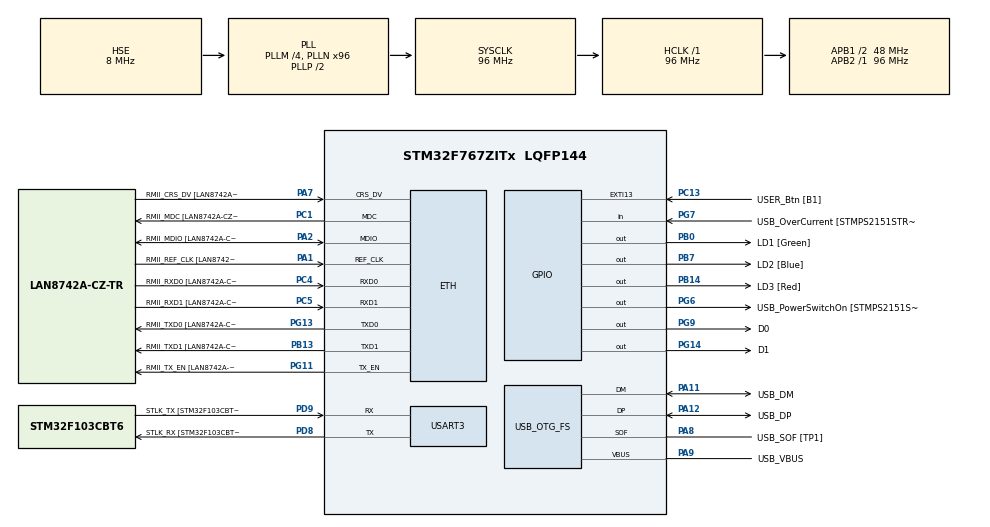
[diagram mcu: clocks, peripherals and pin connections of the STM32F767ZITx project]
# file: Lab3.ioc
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ETH.MediaInterface=HAL_ETH_RMII_MODE
ETH.PHY_Name=LAN8742A_PHY_ADDRESS
ETH.PHY_Value=0
ETH.PhyAddress=0
Mcu.Family=STM32F7
Mcu.Name=STM32F767ZITx
Mcu.Package=LQFP144
NVIC.PriorityGroup=NVIC_PRIORITYGROUP_4
PA1.GPIO_Label=RMII_REF_CLK [LAN8742A-CZ-TR_REFCLK0]
PA1.Mode=RMII
PA1.Signal=ETH_REF_CLK
PA10.GPIO_Label=USB_ID
PA10.Signal=USB_OTG_FS_ID
PA11.GPIO_Label=USB_DM
PA11.Mode=Device_Only
PA11.Signal=USB_OTG_FS_DM
PA12.GPIO_Label=USB_DP
PA12.Mode=Device_Only
PA12.Signal=USB_OTG_FS_DP
PA13.GPIO_Label=TMS
PA13.Mode=Serial_Wire
PA13.Signal=SYS_JTMS-SWDIO
PA14.GPIO_Label=TCK
PA14.Mode=Serial_Wire
PA14.Signal=SYS_JTCK-SWCLK
PA2.GPIO_Label=RMII_MDIO [LAN8742A-CZ-TR_MDIO]
PA2.Mode=RMII
PA2.Signal=ETH_MDIO
PA7.GPIO_Label=RMII_CRS_DV [LAN8742A-CZ-TR_CRS_DV]
PA7.Mode=RMII
PA7.Signal=ETH_CRS_DV
PA8.GPIO_Label=USB_SOF [TP1]
PA8.Mode=Activate_SOF_FS
PA8.Signal=USB_OTG_FS_SOF
PA9.GPIO_Label=USB_VBUS
PA9.Mode=Activate_VBUS
PA9.Signal=USB_OTG_FS_VBUS
PB0.GPIO_Label=LD1 [Green]
PB0.Signal=GPIO_Output
PB13.GPIO_Label=RMII_TXD1 [LAN8742A-CZ-TR_TXD1]
PB13.Mode=RMII
PB13.Signal=ETH_TXD1
PB14.GPIO_Label=LD3 [Red]
PB14.Signal=GPIO_Output
PB3.GPIO_Label=SWO
PB3.Signal=SYS_JTDO-SWO
PB7.GPIO_Label=LD2 [Blue]
PB7.Signal=GPIO_Output
PC1.GPIO_Label=RMII_MDC [LAN8742A-CZ-TR_MDC]
PC1.Mode=RMII
PC1.Signal=ETH_MDC
PC13.GPIO_Label=USER_Btn [B1]
PC13.Signal=GPXTI13
PC14/OSC32_IN.Mode=LSE-External-Oscillator
PC14/OSC32_IN.Signal=RCC_OSC32_IN
PC15/OSC32_OUT.Mode=LSE-External-Oscillator
PC15/OSC32_OUT.Signal=RCC_OSC32_OUT
PC4.GPIO_Label=RMII_RXD0 [LAN8742A-CZ-TR_RXD0]
PC4.Mode=RMII
PC4.Signal=ETH_RXD0
PC5.GPIO_Label=RMII_RXD1 [LAN8742A-CZ-TR_RXD1]
PC5.Mode=RMII
PC5.Signal=ETH_RXD1
PD8.GPIO_Label=STLK_RX [STM32F103CBT6_PA3]
PD8.Mode=Asynchronous
PD8.Signal=USART3_TX
PD9.GPIO_Label=STLK_TX [STM32F103CBT6_PA2]
PD9.Mode=Asynchronous
PD9.Signal=USART3_RX
PG11.GPIO_Label=RMII_TX_EN [LAN8742A-CZ-TR_TXEN]
PG11.Mode=RMII
PG11.Signal=ETH_TX_EN
PG13.GPIO_Label=RMII_TXD0 [LAN8742A-CZ-TR_TXD0]
PG13.Mode=RMII
PG13.Signal=ETH_TXD0
PG14.GPIO_Label=D1
PG14.Signal=GPIO_Output
PG6.GPIO_Label=USB_PowerSwitchOn [STMPS2151STR_EN]
PG6.Signal=GPIO_Output
PG7.GPIO_Label=USB_OverCurrent [STMPS2151STR_FAULT]
PG7.Signal=GPIO_Input
PG9.GPIO_Label=D0
PG9.Signal=GPIO_Output
PH0/OSC_IN.GPIO_Label=MCO [STM32F103CBT6_PA8]
PH0/OSC_IN.Mode=HSE-External-Clock-Source
PH0/OSC_IN.Signal=RCC_OSC_IN
PH1/OSC_OUT.Mode=HSE-External-Clock-Source
PH1/OSC_OUT.Signal=RCC_OSC_OUT
ProjectManager.HeapSize=0x200
ProjectManager.StackSize=0x400
ProjectManager.TargetToolchain=CMake
RCC.48MHZClocksFreq_Value=24000000
RCC.AHBFreq_Value=96000000
RCC.APB1CLKDivider=RCC_HCLK_DIV2
RCC.APB1Freq_Value=48000000
RCC.APB1TimFreq_Value=96000000
RCC.APB2Freq_Value=96000000
RCC.APB2TimFreq_Value=96000000
RCC.CortexFreq_Value=96000000
RCC.HCLKFreq_Value=96000000
RCC.HSE_VALUE=8000000
RCC.HSI_VALUE=16000000
RCC.PLLM=4
RCC.PLLMUL=RCC_PLL_MUL9
RCC.PLLN=96
RCC.PLLQ=4
RCC.PRESCALERUSB=RCC_USBCLKSOURCE_PLL_DIV1_5
RCC.SYSCLKFreq_VALUE=96000000
RCC.SYSCLKSource=RCC_SYSCLKSOURCE_PLLCLK
RCC.SYSCLKSourceVirtual=RCC_SYSCLKSOURCE_PLLCLK
RCC.USBFreq_Value=48000000
RCC.VCOOutputFreq_Value=192000000
USART3.VirtualMode-Asynchronous=VM_ASYNC
USB_OTG_FS.VirtualMode=Device_Only
board=NUCLEO-F767ZI

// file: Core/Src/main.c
/* USER CODE BEGIN Header */
/**
  ******************************************************************************
  * @file           : main.c
  * @brief          : Main program body
  ******************************************************************************
  * @attention
  *
  * Copyright (c) 2025 STMicroelectronics.
  * All rights reserved.
  *
  * This software is licensed under terms that can be found in the LICENSE file
  * in the root directory of this software component.
  * If no LICENSE file comes with this software, it is provided AS-IS.
  *
  ******************************************************************************
  */
/* USER CODE END Header */
#include "main.h"
#include "stm32f767xx.h"
#include "stm32f7xx_hal.h"
#include "stm32f7xx_hal_gpio.h"
#include "string.h"

/* USER CODE BEGIN Includes */
#include "string.h"
#include <stdint.h>
/* USER CODE END Includes */

#if defined ( __ICCARM__ ) /*!< IAR Compiler */
#pragma location=0x2007c000
ETH_DMADescTypeDef  DMARxDscrTab[ETH_RX_DESC_CNT]; /* Ethernet Rx DMA Descriptors */
#pragma location=0x2007c0a0
ETH_DMADescTypeDef  DMATxDscrTab[ETH_TX_DESC_CNT]; /* Ethernet Tx DMA Descriptors */

#elif defined ( __CC_ARM )  /* MDK ARM Compiler */

__attribute__((at(0x2007c000))) ETH_DMADescTypeDef  DMARxDscrTab[ETH_RX_DESC_CNT]; /* Ethernet Rx DMA Descriptors */
__attribute__((at(0x2007c0a0))) ETH_DMADescTypeDef  DMATxDscrTab[ETH_TX_DESC_CNT]; /* Ethernet Tx DMA Descriptors */

#elif defined ( __GNUC__ ) /* GNU Compiler */

ETH_DMADescTypeDef DMARxDscrTab[ETH_RX_DESC_CNT] __attribute__((section(".RxDecripSection"))); /* Ethernet Rx DMA Descriptors */
ETH_DMADescTypeDef DMATxDscrTab[ETH_TX_DESC_CNT] __attribute__((section(".TxDecripSection")));   /* Ethernet Tx DMA Descriptors */
#endif

ETH_TxPacketConfig TxConfig;

ETH_HandleTypeDef heth;

UART_HandleTypeDef huart3;

PCD_HandleTypeDef hpcd_USB_OTG_FS;

void SystemClock_Config(void);
static void MX_GPIO_Init(void);
static void MX_ETH_Init(void);
static void MX_USART3_UART_Init(void);
static void MX_USB_OTG_FS_PCD_Init(void);

/* USER CODE BEGIN 0 */

void blinkLed(GPIO_TypeDef *GPIOx, uint16_t GPIO_Pin) {
  for (unsigned int i = 0; i < 6; i++) {
    HAL_GPIO_TogglePin(GPIOx, GPIO_Pin);
    HAL_Delay(300);
  }
}

/* USER CODE END 0 */

int main(void)
{

  /* MCU Configuration--------------------------------------------------------*/

  /* Reset of all peripherals, Initializes the Flash interface and the Systick. */
  HAL_Init();

  /* Configure the system clock */
  SystemClock_Config();

  /* Initialize all configured peripherals */
  MX_GPIO_Init();
  MX_ETH_Init();
  MX_USART3_UART_Init();
  MX_USB_OTG_FS_PCD_Init();

  /* Infinite loop */
  while (1)
  {

    /* USER CODE BEGIN 3 */

    // BEGIN Lab 3.1
    // char str[] = "Hello, World!\r\n";
    // while (__HAL_UART_GET_FLAG(&huart3, UART_FLAG_TC) == RESET) {
    // }

    // HAL_UART_Transmit(&huart3, (uint8_t*) str, strlen(str), 1000);

    // HAL_Delay(500);
    // END Lab 3.1

    // BEGIN Lab 3.2
    // char ch1 = 'A';
    // while (__HAL_UART_GET_FLAG(&huart3, UART_FLAG_TC) == RESET) {
    // }

    // HAL_UART_Transmit(&huart3, (uint8_t*) &ch1, 1, 1000);

    // HAL_Delay(500);
    // END Lab 3.2

    // BEGIN Lab 3.3
    // char charInput = '\0';
    // char inputPrompt[] = "Input => ";
    // char quitMessage[] = "QUIT";
    // char newLine[] = "\r\n";

    // while (charInput != 'q') {
    //   while (__HAL_UART_GET_FLAG(&huart3, UART_FLAG_TC) == RESET) {}
    //   HAL_UART_Transmit(&huart3, (uint8_t*) &inputPrompt, strlen(inputPrompt), 1000);

    //   while (__HAL_UART_GET_FLAG(&huart3, UART_FLAG_RXNE) == RESET) {}
    //   HAL_UART_Receive(&huart3, (uint8_t*) &charInput, 1, 1000);
    //   HAL_UART_Transmit(&huart3, (uint8_t*) &charInput, 1, 1000);
    //   HAL_UART_Transmit(&huart3, (uint8_t*) &newLine, strlen(newLine), 1000);
    // }
    // HAL_UART_Transmit(&huart3, (uint8_t*) &quitMessage, strlen(quitMessage), 1000);
    // return 0;
    // END Lab 3.3

    // BEGIN Lab 3.4
    char charInput = '\0';
    char startMessage[] = "Display Blinking LED PRESS (1, 2)\r\nDisplay Group Members PRESS m\r\nQuit PRESS q";
    char inputPrompt[] = "\r\n\tInput => ";
    char quitMessage[] = "Quit";
    char unknownMessage[] = "Unknown Command";
    char memberMessage[] = "66010424\r\nnamthip chobthum\r\n66010648\r\nphuwit puthipairoj";

    while (__HAL_UART_GET_FLAG(&huart3, UART_FLAG_TC) == RESET) {}
    HAL_UART_Transmit(&huart3, (uint8_t*) &startMessage, strlen(startMessage), 1000);

    while (charInput != 'q') {
      while (__HAL_UART_GET_FLAG(&huart3, UART_FLAG_TC) == RESET) {}
      HAL_UART_Transmit(&huart3, (uint8_t*) &inputPrompt, strlen(inputPrompt), 1000);

      while (__HAL_UART_GET_FLAG(&huart3, UART_FLAG_RXNE) == RESET) {}
      HAL_UART_Receive(&huart3, (uint8_t*) &charInput, 1, 1000);
      HAL_UART_Transmit(&huart3, (uint8_t*) &charInput, 1, 1000);

      switch (charInput) {
        case '1':
          blinkLed(GPIOG, GPIO_PIN_14);
          break;
        case '2':
          blinkLed(GPIOG, GPIO_PIN_9);
          break;
        case 'm':
          HAL_UART_Transmit(&huart3, (uint8_t*) &memberMessage, strlen(memberMessage), 1000);
          break;
        case 'q':
          HAL_UART_Transmit(&huart3, (uint8_t*) &quitMessage, strlen(quitMessage), 1000);
          return 0;
        default:
          HAL_UART_Transmit(&huart3, (uint8_t*) &unknownMessage, strlen(unknownMessage), 1000);
          break;
      }
    }
    // END Lab 3.4
  }
  /* USER CODE END 3 */
}

void SystemClock_Config(void)
{
  RCC_OscInitTypeDef RCC_OscInitStruct = {0};
  RCC_ClkInitTypeDef RCC_ClkInitStruct = {0};

  /** Configure LSE Drive Capability
  */
  HAL_PWR_EnableBkUpAccess();

  /** Configure the main internal regulator output voltage
  */
  __HAL_RCC_PWR_CLK_ENABLE();
  __HAL_PWR_VOLTAGESCALING_CONFIG(PWR_REGULATOR_VOLTAGE_SCALE3);

  /** Initializes the RCC Oscillators according to the specified parameters
  * in the RCC_OscInitTypeDef structure.
  */
  RCC_OscInitStruct.OscillatorType = RCC_OSCILLATORTYPE_HSE;
  RCC_OscInitStruct.HSEState = RCC_HSE_BYPASS;
  RCC_OscInitStruct.PLL.PLLState = RCC_PLL_ON;
  RCC_OscInitStruct.PLL.PLLSource = RCC_PLLSOURCE_HSE;
  RCC_OscInitStruct.PLL.PLLM = 4;
  RCC_OscInitStruct.PLL.PLLN = 96;
  RCC_OscInitStruct.PLL.PLLP = RCC_PLLP_DIV2;
  RCC_OscInitStruct.PLL.PLLQ = 4;
  RCC_OscInitStruct.PLL.PLLR = 2;
  if (HAL_RCC_OscConfig(&RCC_OscInitStruct) != HAL_OK)
  {
    Error_Handler();
  }

  /** Activate the Over-Drive mode
  */
  if (HAL_PWREx_EnableOverDrive() != HAL_OK)
  {
    Error_Handler();
  }

  /** Initializes the CPU, AHB and APB buses clocks
  */
  RCC_ClkInitStruct.ClockType = RCC_CLOCKTYPE_HCLK|RCC_CLOCKTYPE_SYSCLK
                              |RCC_CLOCKTYPE_PCLK1|RCC_CLOCKTYPE_PCLK2;
  RCC_ClkInitStruct.SYSCLKSource = RCC_SYSCLKSOURCE_PLLCLK;
  RCC_ClkInitStruct.AHBCLKDivider = RCC_SYSCLK_DIV1;
  RCC_ClkInitStruct.APB1CLKDivider = RCC_HCLK_DIV2;
  RCC_ClkInitStruct.APB2CLKDivider = RCC_HCLK_DIV1;

  if (HAL_RCC_ClockConfig(&RCC_ClkInitStruct, FLASH_LATENCY_3) != HAL_OK)
  {
    Error_Handler();
  }
}

static void MX_ETH_Init(void)
{

   static uint8_t MACAddr[6];

  heth.Instance = ETH;
  MACAddr[0] = 0x00;
  MACAddr[1] = 0x80;
  MACAddr[2] = 0xE1;
  MACAddr[3] = 0x00;
  MACAddr[4] = 0x00;
  MACAddr[5] = 0x00;
  heth.Init.MACAddr = &MACAddr[0];
  heth.Init.MediaInterface = HAL_ETH_RMII_MODE;
  heth.Init.TxDesc = DMATxDscrTab;
  heth.Init.RxDesc = DMARxDscrTab;
  heth.Init.RxBuffLen = 1524;

  if (HAL_ETH_Init(&heth) != HAL_OK)
  {
    Error_Handler();
  }

  memset(&TxConfig, 0 , sizeof(ETH_TxPacketConfig));
  TxConfig.Attributes = ETH_TX_PACKETS_FEATURES_CSUM | ETH_TX_PACKETS_FEATURES_CRCPAD;
  TxConfig.ChecksumCtrl = ETH_CHECKSUM_IPHDR_PAYLOAD_INSERT_PHDR_CALC;
  TxConfig.CRCPadCtrl = ETH_CRC_PAD_INSERT;

}

static void MX_USART3_UART_Init(void)
{

  huart3.Instance = USART3;
  huart3.Init.BaudRate = 115200;
  huart3.Init.WordLength = UART_WORDLENGTH_8B;
  huart3.Init.StopBits = UART_STOPBITS_1;
  huart3.Init.Parity = UART_PARITY_NONE;
  huart3.Init.Mode = UART_MODE_TX_RX;
  huart3.Init.HwFlowCtl = UART_HWCONTROL_NONE;
  huart3.Init.OverSampling = UART_OVERSAMPLING_16;
  huart3.Init.OneBitSampling = UART_ONE_BIT_SAMPLE_DISABLE;
  huart3.AdvancedInit.AdvFeatureInit = UART_ADVFEATURE_NO_INIT;
  if (HAL_UART_Init(&huart3) != HAL_OK)
  {
    Error_Handler();
  }

}

static void MX_USB_OTG_FS_PCD_Init(void)
{

  hpcd_USB_OTG_FS.Instance = USB_OTG_FS;
  hpcd_USB_OTG_FS.Init.dev_endpoints = 6;
  hpcd_USB_OTG_FS.Init.speed = PCD_SPEED_FULL;
  hpcd_USB_OTG_FS.Init.dma_enable = DISABLE;
  hpcd_USB_OTG_FS.Init.phy_itface = PCD_PHY_EMBEDDED;
  hpcd_USB_OTG_FS.Init.Sof_enable = ENABLE;
  hpcd_USB_OTG_FS.Init.low_power_enable = DISABLE;
  hpcd_USB_OTG_FS.Init.lpm_enable = DISABLE;
  hpcd_USB_OTG_FS.Init.vbus_sensing_enable = ENABLE;
  hpcd_USB_OTG_FS.Init.use_dedicated_ep1 = DISABLE;
  if (HAL_PCD_Init(&hpcd_USB_OTG_FS) != HAL_OK)
  {
    Error_Handler();
  }

}

static void MX_GPIO_Init(void)
{
  GPIO_InitTypeDef GPIO_InitStruct = {0};

  /* GPIO Ports Clock Enable */
  __HAL_RCC_GPIOC_CLK_ENABLE();
  __HAL_RCC_GPIOH_CLK_ENABLE();
  __HAL_RCC_GPIOA_CLK_ENABLE();
  __HAL_RCC_GPIOB_CLK_ENABLE();
  __HAL_RCC_GPIOD_CLK_ENABLE();
  __HAL_RCC_GPIOG_CLK_ENABLE();

  /*Configure GPIO pin Output Level */
  HAL_GPIO_WritePin(GPIOB, LD1_Pin|LD3_Pin|LD2_Pin, GPIO_PIN_RESET);

  /*Configure GPIO pin Output Level */
  HAL_GPIO_WritePin(GPIOG, USB_PowerSwitchOn_Pin|D0_Pin|D1_Pin, GPIO_PIN_RESET);

  /*Configure GPIO pin : USER_Btn_Pin */
  GPIO_InitStruct.Pin = USER_Btn_Pin;
  GPIO_InitStruct.Mode = GPIO_MODE_IT_RISING;
  GPIO_InitStruct.Pull = GPIO_NOPULL;
  HAL_GPIO_Init(USER_Btn_GPIO_Port, &GPIO_InitStruct);

  /*Configure GPIO pins : LD1_Pin LD3_Pin LD2_Pin */
  GPIO_InitStruct.Pin = LD1_Pin|LD3_Pin|LD2_Pin;
  GPIO_InitStruct.Mode = GPIO_MODE_OUTPUT_PP;
  GPIO_InitStruct.Pull = GPIO_NOPULL;
  GPIO_InitStruct.Speed = GPIO_SPEED_FREQ_LOW;
  HAL_GPIO_Init(GPIOB, &GPIO_InitStruct);

  /*Configure GPIO pins : USB_PowerSwitchOn_Pin D0_Pin D1_Pin */
  GPIO_InitStruct.Pin = USB_PowerSwitchOn_Pin|D0_Pin|D1_Pin;
  GPIO_InitStruct.Mode = GPIO_MODE_OUTPUT_PP;
  GPIO_InitStruct.Pull = GPIO_NOPULL;
  GPIO_InitStruct.Speed = GPIO_SPEED_FREQ_LOW;
  HAL_GPIO_Init(GPIOG, &GPIO_InitStruct);

  /*Configure GPIO pin : USB_OverCurrent_Pin */
  GPIO_InitStruct.Pin = USB_OverCurrent_Pin;
  GPIO_InitStruct.Mode = GPIO_MODE_INPUT;
  GPIO_InitStruct.Pull = GPIO_NOPULL;
  HAL_GPIO_Init(USB_OverCurrent_GPIO_Port, &GPIO_InitStruct);

}

void Error_Handler(void)
{
  __disable_irq();
  while (1)
  {
  }
}
